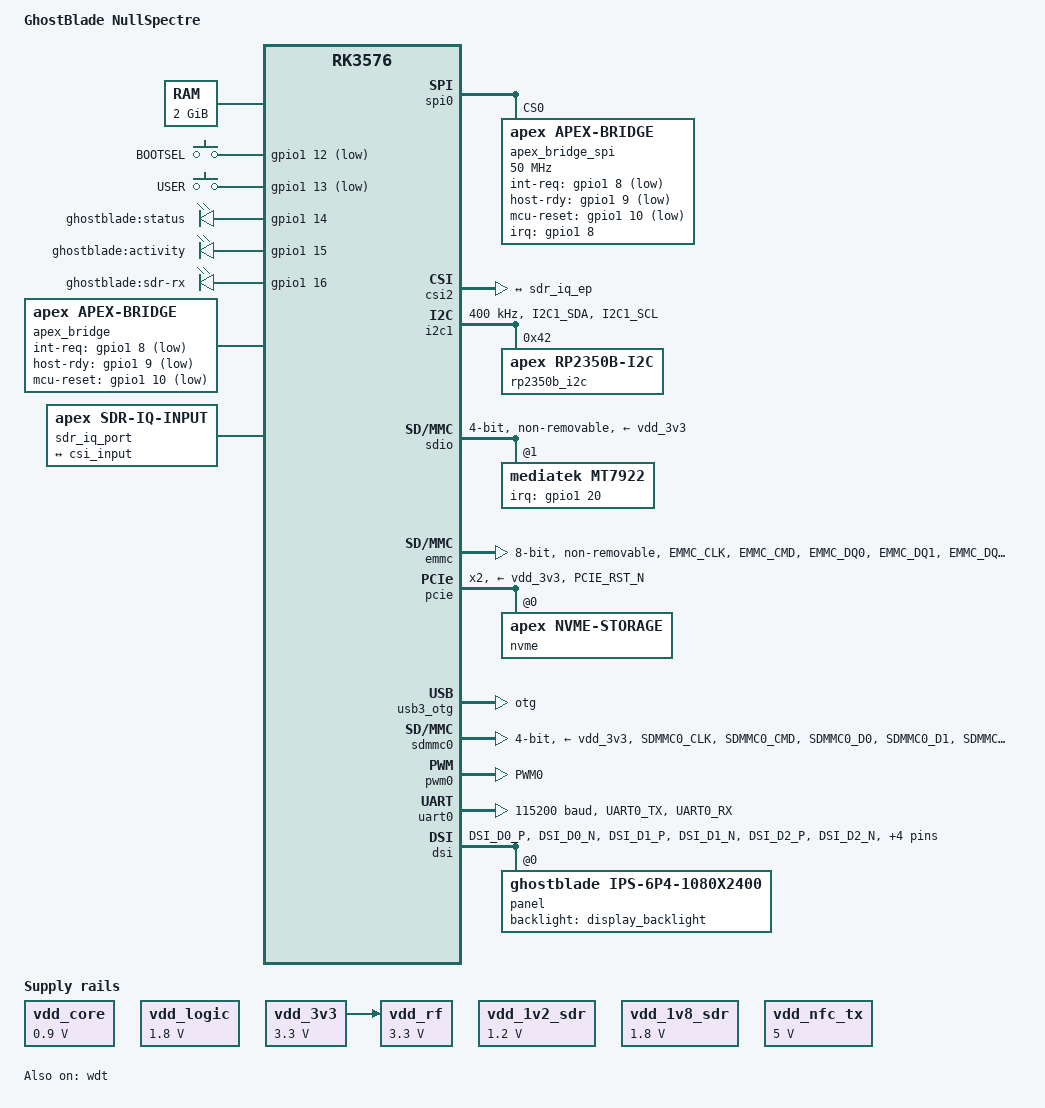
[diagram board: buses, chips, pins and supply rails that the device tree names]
// SPDX-License-Identifier: (GPL-2.0+ OR MIT)
/*
 * Device Tree Source for GhostBlade (Project NullSpectre)
 * Rockchip RK3576 + RP2350B Dual-Processor Pentesting Device
 *
 * Copyright (C) 2026 GhostBlade Project
 * SPDX-License-Identifier: (GPL-2.0+ OR MIT)
 *
 * Netlist Cross-Reference (verified against GhostBlade.mf):
 *
 * SPI0 Bridge:  GPIO1_A0=MOSI, GPIO1_A1=MISO, GPIO1_A2=SCK, GPIO1_A3=CSn
 * Bridge IRQ:   GPIO1_B0=INT_REQ, GPIO1_B1=HOST_RDY, GPIO1_B2=MCU_RESET
 * I2C1 Bridge:  I2C1_SDA, I2C1_SCL (RP2350B I2C0 slave @0x42)
 * MIPI-CSI-2:   LMS7002M IQ data → RK3576 CSI RX0/RX1
 * Wi-Fi IRQ:    GPIO1_D4 (MT7922 WIFI_IRQ)
 * SDMMC0 CD:    GPIO0_D7 (card detect, active-low)
 * BOOTSEL:      GPIO1_B4 (RP2350B BOOTSEL button)
 * USER button:  GPIO1_B5 (user button)
 * STATUS LED:   GPIO1_B6 (heartbeat)
 * ACTIVITY LED: GPIO1_B7 (cpu0 load)
 * SDR_RX LED:   GPIO1_C0 (SDR receive indicator)
 * PWM0:         Display backlight
 */

/dts-v1/;
#include "rk3576.dtsi"

/ {
	model = "GhostBlade NullSpectre";
	compatible = "ghostblade,nullspectre", "rockchip,rk3576";

	chosen {
		stdout-path = &uart0;
		bootargs = "earlycon=uart8250,mmio32,0xfeb50000,115200n8 "
			   "console=ttyS0,115200n8 "
			   "root=/dev/mmcblk0p6 rootfstype=ext4 "
			   "rootwait "
			   "apex_bridge.spi_speed=50000000";
	};

	memory@0 {
		device_type = "memory";
		reg = <0x0 0x0 0x0 0x80000000>; /* 8 GB LPDDR5 */
	};

	/* ================================================================
	 * Power Supply Regulators
	 * ================================================================ */

	vdd_core: vdd-core-regulator {
		compatible = "regulator-fixed";
		regulator-name = "vdd_core";
		regulator-min-microvolt = <900000>;
		regulator-max-microvolt = <900000>;
		regulator-boot-on;
		regulator-always-on;
		startup-delay-us = <200>;
	};

	vdd_logic: vdd-logic-regulator {
		compatible = "regulator-fixed";
		regulator-name = "vdd_logic";
		regulator-min-microvolt = <1800000>;
		regulator-max-microvolt = <1800000>;
		regulator-boot-on;
		regulator-always-on;
		startup-delay-us = <500>;
	};

	vdd_3v3: vdd-3v3-regulator {
		compatible = "regulator-fixed";
		regulator-name = "vdd_3v3";
		regulator-min-microvolt = <3300000>;
		regulator-max-microvolt = <3300000>;
		regulator-boot-on;
		regulator-always-on;
		startup-delay-us = <1000>;
	};

	vdd_1v2_sdr: vdd-1v2-sdr-regulator {
		compatible = "regulator-fixed";
		regulator-name = "vdd_1v2_sdr";
		regulator-min-microvolt = <1200000>;
		regulator-max-microvolt = <1200000>;
		regulator-boot-on;
		startup-delay-us = <2000>;
	};

	vdd_1v8_sdr: vdd-1v8-sdr-regulator {
		compatible = "regulator-fixed";
		regulator-name = "vdd_1v8_sdr";
		regulator-min-microvolt = <1800000>;
		regulator-max-microvolt = <1800000>;
		regulator-boot-on;
		startup-delay-us = <1500>;
	};

	vdd_rf: vdd-rf-regulator {
		compatible = "regulator-fixed";
		regulator-name = "vdd_rf";
		regulator-min-microvolt = <3300000>;
		regulator-max-microvolt = <3300000>;
		vin-supply = <&vdd_3v3>;
		startup-delay-us = <3000>;
		off-on-delay-us = <5000>;
	};

	vdd_nfc_tx: vdd-nfc-tx-regulator {
		compatible = "regulator-fixed";
		regulator-name = "vdd_nfc_tx";
		regulator-min-microvolt = <5000000>;
		regulator-max-microvolt = <5000000>;
		regulator-boot-on;
		startup-delay-us = <5000>;
		off-on-delay-us = <10000>;
	};

	/* ================================================================
	 * Thermal Zones
	 * ================================================================ */

	thermal-zones {
		soc_thermal: soc-thermal {
			polling-delay-passive = <1000>; /* 1s passive polling */
			polling-delay = <5000>; /* 5s active polling */
			thermal-sensors = <&tsadc>;

			trips {
				soc_alert: soc-alert {
					temperature = <75000>; /* 75°C alert */
					hysteresis = <2000>;
					type = "passive";
				};

				soc_crit: soc-crit {
					temperature = <85000>; /* 85°C critical */
					hysteresis = <2000>;
					type = "critical";
				};

				soc_emergency: soc-emergency {
					temperature = <105000>; /* 105°C emergency shutdown */
					hysteresis = <0>;
					type = "critical";
				};
			};

			cooling-maps {
				map0 {
					trip = <&soc_alert>;
					cooling-device = <&cpu0 THERMAL_NO_LIMIT THERMAL_NO_LIMIT>,
							 <&cpu4 THERMAL_NO_LIMIT THERMAL_NO_LIMIT>;
					contribution = <4096>;
				};
			};
		};
	};

	/* ================================================================
	 * GPIO Keys
	 * ================================================================ */

	gpio_keys: gpio-keys {
		compatible = "gpio-keys";
		autorepeat;

		button-bootsel: button-bootsel {
			label = "BOOTSEL";
			linux,code = <KEY_RESTART>; /* RP2350B BOOTSEL */
			gpios = <&gpio1 12 GPIO_ACTIVE_LOW>; /* GPIO1_B4 */
			debounce-interval = <50>;
		};

		button-user: button-user {
			label = "USER";
			linux,code = <KEY_F24>;
			gpios = <&gpio1 13 GPIO_ACTIVE_LOW>; /* GPIO1_B5 */
			debounce-interval = <50>;
		};
	};

	/* ================================================================
	 * LEDs
	 * ================================================================ */

	leds: leds {
		compatible = "gpio-leds";

		led-status: led-status {
			label = "ghostblade:status";
			gpios = <&gpio1 14 GPIO_ACTIVE_HIGH>; /* GPIO1_B6 */
			linux,default-trigger = "heartbeat";
			default-state = "on";
		};

		led-activity: led-activity {
			label = "ghostblade:activity";
			gpios = <&gpio1 15 GPIO_ACTIVE_HIGH>; /* GPIO1_B7 */
			linux,default-trigger = "cpu0";
			default-state = "off";
		};

		led-sdr-rx: led-sdr-rx {
			label = "ghostblade:sdr-rx";
			gpios = <&gpio1 16 GPIO_ACTIVE_HIGH>; /* GPIO1_C0 */
			default-state = "off";
		};
	};

	/* ================================================================
	 * Apex Bridge (SPI0) — RP2350B Coprocessor
	 * ================================================================ */

	apex_bridge: apex-bridge {
		compatible = "apex,apex-bridge";
		status = "okay";

		pinctrl-0 = <&spi0_pins &bridge_gpio_pins>;
		pinctrl-names = "default";

		/* GPIO assignments (GPIO1 bank) */
		apex,int-req-gpio = <&gpio1 8 GPIO_ACTIVE_LOW>;   /* GPIO1_B0 */
		apex,host-rdy-gpio = <&gpio1 9 GPIO_ACTIVE_LOW>;  /* GPIO1_B1 */
		apex,mcu-reset-gpio = <&gpio1 10 GPIO_ACTIVE_LOW>; /* GPIO1_B2 */
	};

	/* ================================================================
	 * SDR (LMS7002M) — MIPI-CSI-2 Interface
	 * Repurposed from camera to SDR IQ data transport
	 * ================================================================ */

	sdr_iq_port: sdr-iq-port {
		compatible = "apex,sdr-iq-input";
		status = "okay";

		/* The LMS7002M is controlled via RP2350B SPI1.
		 * This node describes the MIPI-CSI-2 data path from
		 * LMS7002M to RK3576 for IQ sample streaming. */
		port {
			sdr_iq_ep: endpoint {
				remote-endpoint = <&csi_input>;
				data-lanes = <1 2 3 4>;
				clock-lanes = <0>;
				link-frequencies = /bits/ 64 <1500000000>;
				bus-type = <4>; /* MIPI CSI-2 */
			};
		};
	};
};

/* ================================================================
 * SPI0 — Bridge to RP2350B Coprocessor
 * ================================================================ */

&spi0 {
	status = "okay";
	max-frequency = <50000000>; /* 50 MHz */
	#address-cells = <1>;
	#size-cells = <0>;

	apex_bridge_spi: apex-bridge@0 {
		compatible = "apex,apex-bridge";
		reg = <0>; /* Chip select 0 */
		spi-max-frequency = <50000000>;
		spi-cpha = <0>;
		spi-cpol = <0>;
		spi-cs-high = <0>; /* Active-low chip select */

		/* Interrupt from RP2350B INT_REQ (GPIO1_B0) */
		interrupt-parent = <&gpio1>;
		interrupts = <8 IRQ_TYPE_EDGE_FALLING>;

		apex,int-req-gpio = <&gpio1 8 GPIO_ACTIVE_LOW>;
		apex,host-rdy-gpio = <&gpio1 9 GPIO_ACTIVE_LOW>;
		apex,mcu-reset-gpio = <&gpio1 10 GPIO_ACTIVE_LOW>;
	};
};

/* ================================================================
 * MIPI CSI-2 — SDR IQ Data Input (repurposed from camera)
 * ================================================================ */

&csi2 {
	status = "okay";

	ports {
		port@0 {
			reg = <0>;
			csi_input: endpoint {
				remote-endpoint = <&sdr_iq_ep>;
				data-lanes = <1 2 3 4>;
				clock-lanes = <0>;
				link-frequencies = /bits/ 64 <1500000000>;
			};
		};
	};
};

/* ================================================================
 * I2C1 — Secondary Bridge to RP2350B
 * ================================================================ */

&i2c1 {
	status = "okay";
	clock-frequency = <400000>; /* 400 kHz Fast-Mode Plus */
	pinctrl-0 = <&i2c1_pins>;
	pinctrl-names = "default";

	/* RP2350B I2C0 slave address for telemetry/monitoring */
	rp2350b_i2c: mcu@42 {
		compatible = "apex,rp2350b-i2c";
		reg = <0x42>;
	};
};

/* ================================================================
 * SDIO — Wi-Fi 6E (MT7922)
 * ================================================================ */

&sdio {
	status = "okay";
	max-frequency = <200000000>; /* HS400 SDR104 */
	bus-width = <4>;
	cap-sd-highspeed;
	cap-mmc-highspeed;
	keep-power-in-suspend;
	non-removable;
	vmmc-supply = <&vdd_3v3>;
	vqmmc-supply = <&vdd_logic>;

	mt7922: wifi@1 {
		compatible = "mediatek,mt7922";
		reg = <1>;
		interrupt-parent = <&gpio1>;
		interrupts = <20 IRQ_TYPE_LEVEL_LOW>; /* GPIO1_D4: WIFI_IRQ */
		mediatek,firmware = "mt7922.bin";
	};
};

/* ================================================================
 * eMMC — OS Root Filesystem
 * ================================================================ */

&emmc {
	status = "okay";
	bus-width = <8>;
	max-frequency = <200000000>; /* HS400 Enhanced Strobe */
	mmc-hs400-enhanced-strobe;
	mmc-hs400-1_8v;
	mmc-hs200-1_8v;
	non-removable;
	cap-mmc-highspeed;
	pinctrl-0 = <&emmc_pins>;
	pinctrl-names = "default";

	partitions {
		compatible = "fixed-partitions";
		#address-cells = <1>;
		#size-cells = <1>;

		partition@0 {
			label = "spl";
			reg = <0x0 0x40000>; /* 256 KB: U-Boot SPL */
		};

		partition@40000 {
			label = "uboot";
			reg = <0x40000 0x200000>; /* 2 MB: Full U-Boot */
		};

		partition@240000 {
			label = "dtb";
			reg = <0x240000 0x80000>; /* 512 KB: Device Tree Blob */
		};

		partition@2c0000 {
			label = "boot";
			reg = <0x2c0000 0x800000>; /* 8 MB: Kernel Image */
		};

		partition@ac0000 {
			label = "rootfs";
			/* Root filesystem occupies remaining eMMC space.
			 * Size 0x0 is invalid for reg; the boot loader or
			 * init script should expand this partition to fill
			 * the disk. Use a placeholder size of 256 MB (0x10000000)
			 * which will be resized by the flashing tool. */
			reg = <0xac0000 0x10000000>; /* 256 MB (placeholder, expanded at flash time) */
		};
	};
};

/* ================================================================
 * PCIe — M.2 NVMe SSD
 * ================================================================ */

&pcie {
	status = "okay";
	max-link-speed = <3>; /* Gen3 */
	num-lanes = <2>;

	pinctrl-0 = <&pcie_pins>;
	pinctrl-names = "default";

	vpcie3v3-supply = <&vdd_3v3>;
	vpcie1v8-supply = <&vdd_logic>;
	vpcie0v9-supply = <&vdd_core>;

	nvme@0,0 {
		compatible = "apex,nvme-storage";
		reg = <0x00000000 0 0 0 0>;
	};
};

/* ================================================================
 * USB-C — OTG (Host/Device + DisplayPort Alt Mode)
 * ================================================================ */

&usb3_otg {
	status = "okay";
	dr_mode = "otg";
	maximum-speed = "super-speed";
};

/* ================================================================
 * SDMMC0 — MicroSD Card Slot (boot rescue / storage expansion)
 * ================================================================ */

&sdmmc0 {
	status = "okay";
	bus-width = <4>;
	cap-sd-highspeed;
	max-frequency = <200000000>; /* SDR104 */
	cd-gpios = <&gpio0 31 GPIO_ACTIVE_LOW>; /* GPIO0_D7: card detect */
	vmmc-supply = <&vdd_3v3>;
	vqmmc-supply = <&vdd_logic>;
	pinctrl-0 = <&sdmmc0_pins &sdmmc0_det_pin>;
	pinctrl-names = "default";
};

/* ================================================================
 * PWM0 — Display Backlight
 * ================================================================ */

&pwm0 {
	status = "okay";
	pinctrl-0 = <&pwm0_pins>;
	pinctrl-names = "default";
};

/* ================================================================
 * Watchdog — Hardware Watchdog Timer
 * The RP2350B firmware uses a 5-second watchdog timeout.
 * The RK3576 watchdog provides a last-resort reset for the SoC.
 * ================================================================ */

&wdt {
	status = "okay";
	timeout-sec = <10>;
};

/* ================================================================
 * UART0 — Debug Console
 * ================================================================ */

&uart0 {
	status = "okay";
	current-speed = <115200>;
	pinctrl-0 = <&uart0_pins>;
	pinctrl-names = "default";
};

/* ================================================================
 * MIPI DSI — 6.4" IPS Display (1080x2400)
 * ================================================================ */

&dsi {
	status = "okay";
	pinctrl-0 = <&dsi_pins>;
	pinctrl-names = "default";

	panel@0 {
		compatible = "ghostblade,ips-6p4-1080x2400";
		reg = <0>;
		backlight = <&display_backlight>;
		rotation = <0>;
	};
};

display_backlight: backlight {
	compatible = "pwm-backlight";
	pwms = <&pwm0 0 100000 0>; /* 10 kHz PWM */
	brightness-levels = <0 4 8 16 32 64 128 255>;
	default-brightness-level = <6>; /* ~50% */
	power-supply = <&vdd_3v3>;
};

/* ================================================================
 * Pin Control
 * ================================================================ */

&pinctrl {
	spi0_pins: spi0-pins {
		pins = "GPIO1_A0", "GPIO1_A1", "GPIO1_A2", "GPIO1_A3";
		function = "spi0";
		bias-pull-up;
		drive-strength = <8>; /* 8 mA */
	};

	bridge_gpio_pins: bridge-gpio-pins {
		pins = "GPIO1_B0", "GPIO1_B1", "GPIO1_B2";
		function = "gpio";

		/* INT_REQ: input with pull-up */
		GPIO1_B0 {
			pins = "GPIO1_B0";
			bias-pull-up;
			input-enable;
		};

		/* HOST_RDY: output */
		GPIO1_B1 {
			pins = "GPIO1_B1";
			bias-pull-up;
			drive-strength = <8>;
			output-high;
		};

		/* MCU_RESET: output, initially LOW (asserted) */
		GPIO1_B2 {
			pins = "GPIO1_B2";
			bias-pull-up;
			drive-strength = <8>;
			output-low;
		};
	};

	mipi_csi_pins: mipi-csi-pins {
		pins = "MIPI_CSI_CLK_P", "MIPI_CSI_CLK_N",
		       "MIPI_CSI_D0_P", "MIPI_CSI_D0_N",
		       "MIPI_CSI_D1_P", "MIPI_CSI_D1_N",
		       "MIPI_CSI_D2_P", "MIPI_CSI_D2_N",
		       "MIPI_CSI_D3_P", "MIPI_CSI_D3_N";
		function = "mipi_csi";
		bias-disable;
		drive-strength = <4>;
	};

	i2c1_pins: i2c1-pins {
		pins = "I2C1_SDA", "I2C1_SCL";
		function = "i2c1";
		bias-pull-up;
		drive-strength = <4>;
	};

	uart0_pins: uart0-pins {
		pins = "UART0_TX", "UART0_RX";
		function = "uart0";
		bias-pull-up;
		drive-strength = <4>;
	};

	sdio_pins: sdio-pins {
		pins = "SDIO_CLK", "SDIO_CMD",
		       "SDIO_D0", "SDIO_D1",
		       "SDIO_D2", "SDIO_D3";
		function = "sdio";
		bias-pull-up;
		drive-strength = <8>;
	};

	sdio_irq_pin: sdio-irq-pin {
		pins = "GPIO1_D4"; /* WIFI_IRQ */
		function = "gpio";
		input-enable;
		bias-pull-up;
	};

	gpio_keys_pins: gpio-keys-pins {
		pins = "GPIO1_B4", "GPIO1_B5"; /* BOOTSEL, USER */
		function = "gpio";
		bias-pull-up;
		input-enable;
	};

	led_pins: led-pins {
		pins = "GPIO1_B6", "GPIO1_B7", "GPIO1_C0";
		       /* STATUS, ACTIVITY, SDR_RX */
		function = "gpio";
		drive-strength = <4>;
	};

	emmc_pins: emmc-pins {
		pins = "EMMC_CLK", "EMMC_CMD",
		       "EMMC_DQ0", "EMMC_DQ1",
		       "EMMC_DQ2", "EMMC_DQ3",
		       "EMMC_DQ4", "EMMC_DQ5",
		       "EMMC_DQ6", "EMMC_DQ7",
		       "EMMC_RST_N", "EMMC_DS";
		function = "emmc";
		bias-pull-up;
		drive-strength = <8>;
	};

	pcie_pins: pcie-pins {
		pins = "PCIE_RST_N"; /* GPIO0_B0 */
		function = "gpio";
		bias-pull-up;
		drive-strength = <4>;
	};

	usb_pins: usb-pins {
		pins = "USB_CC1", "USB_CC2";
		function = "usb";
		bias-pull-up;
		drive-strength = <4>;
	};

	dsi_pins: dsi-pins {
		pins = "DSI_D0_P", "DSI_D0_N",
		       "DSI_D1_P", "DSI_D1_N",
		       "DSI_D2_P", "DSI_D2_N",
		       "DSI_D3_P", "DSI_D3_N",
		       "DSI_CLK_P", "DSI_CLK_N";
		function = "mipi_dsi";
		bias-disable;
		drive-strength = <4>;
	};

	sdmmc0_pins: sdmmc0-pins {
		pins = "SDMMC0_CLK", "SDMMC0_CMD",
		       "SDMMC0_D0", "SDMMC0_D1",
		       "SDMMC0_D2", "SDMMC0_D3";
		function = "sdmmc0";
		bias-pull-up;
		drive-strength = <4>;
	};

	sdmmc0_det_pin: sdmmc0-det-pin {
		pins = "GPIO0_D7"; /* SD card detect (active-low) */
		function = "gpio";
		bias-pull-up;
		input-enable;
	};

	pwm0_pins: pwm0-pins {
		pins = "PWM0"; /* Backlight PWM */
		function = "pwm0";
		bias-disable;
		drive-strength = <4>;
	};
};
